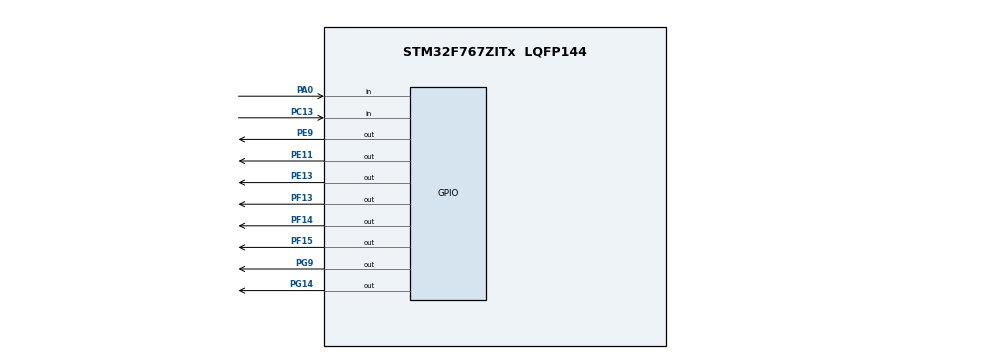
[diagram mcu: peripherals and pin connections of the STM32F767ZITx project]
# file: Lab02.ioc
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Mcu.Family=STM32F7
Mcu.Name=STM32F767ZITx
Mcu.Package=LQFP144
NVIC.PriorityGroup=NVIC_PRIORITYGROUP_4
PA0/WKUP.Signal=GPIO_Input
PC13.Signal=GPIO_Input
PE11.Signal=GPIO_Output
PE13.Signal=GPIO_Output
PE9.Signal=GPIO_Output
PF13.Signal=GPIO_Output
PF14.Signal=GPIO_Output
PF15.Signal=GPIO_Output
PG14.Signal=GPIO_Output
PG9.Signal=GPIO_Output
ProjectManager.HeapSize=0x200
ProjectManager.StackSize=0x400
ProjectManager.TargetToolchain=STM32CubeIDE
RCC.HSE_VALUE=25000000
RCC.HSI_VALUE=16000000
RCC.LSE_VALUE=32768
RCC.USBFreq_Value=96000000
RCC.VCOOutputFreq_Value=192000000
board=custom

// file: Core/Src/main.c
/* USER CODE BEGIN Header */
/**
  ******************************************************************************
  * @file           : main.c
  * @brief          : Main program body
  ******************************************************************************
  * @attention
  *
  * Copyright (c) 2023 STMicroelectronics.
  * All rights reserved.
  *
  * This software is licensed under terms that can be found in the LICENSE file
  * in the root directory of this software component.
  * If no LICENSE file comes with this software, it is provided AS-IS.
  *
  ******************************************************************************
  */
/* USER CODE END Header */
#include "main.h"

/* USER CODE BEGIN PD */
#define led7_type GPIOF
#define led7_pin GPIO_PIN_13

#define led6_type GPIOE
#define led6_pin GPIO_PIN_9

#define led5_type GPIOE
#define led5_pin GPIO_PIN_11

#define led4_type GPIOF
#define led4_pin GPIO_PIN_14

#define led3_type GPIOE
#define led3_pin GPIO_PIN_13

#define led2_type GPIOF
#define led2_pin GPIO_PIN_15

#define led1_type GPIOG
#define led1_pin GPIO_PIN_14

#define led0_type GPIOG
#define led0_pin GPIO_PIN_9
/* USER CODE END PD */

/* USER CODE BEGIN PV */
uint8_t state_count = 0;
uint8_t state[9][8] = {
		{0, 0, 0, 0, 0, 0, 0, 0},
		{0, 0, 0, 0, 0, 0, 0, 1},
		{0, 0, 0, 0, 0, 0, 1, 0},
		{0, 0, 0, 0, 0, 1, 0, 0},
		{0, 0, 0, 0, 1, 0, 0, 0},
		{0, 0, 0, 1, 0, 0, 0, 0},
		{0, 0, 1, 0, 0, 0, 0, 0},
		{0, 1, 0, 0, 0, 0, 0, 0},
		{1, 0, 0, 0, 0, 0, 0, 0}};
uint8_t sw[2] = {0, 0};
uint8_t loop = 8;
uint8_t start = 0;
uint8_t old_state = 0;
uint8_t finish = 0;
/* USER CODE END PV */

void SystemClock_Config(void);
static void MPU_Initialize(void);
static void MPU_Config(void);
static void MX_GPIO_Init(void);

int main(void)
{

  /* MCU Configuration--------------------------------------------------------*/

  /* Reset of all peripherals, Initializes the Flash interface and the Systick. */
  HAL_Init();

  /* MPU Configuration--------------------------------------------------------*/
  MPU_Config();

  /* Configure the system clock */
  SystemClock_Config();

  /* Initialize all configured peripherals */
  MX_GPIO_Init();

  /* Infinite loop */
  while (1)
  {

    /* USER CODE BEGIN 3 */

	HAL_GPIO_WritePin(led7_type, led7_pin, state[state_count][7]);
	HAL_GPIO_WritePin(led6_type, led6_pin, state[state_count][6]);
	HAL_GPIO_WritePin(led5_type, led5_pin, state[state_count][5]);
	HAL_GPIO_WritePin(led4_type, led4_pin, state[state_count][4]);
	HAL_GPIO_WritePin(led3_type, led3_pin, state[state_count][3]);
	HAL_GPIO_WritePin(led2_type, led2_pin, state[state_count][2]);
	HAL_GPIO_WritePin(led1_type, led1_pin, state[state_count][1]);
	HAL_GPIO_WritePin(led0_type, led0_pin, state[state_count][0]);

	if (HAL_GPIO_ReadPin(GPIOC, GPIO_PIN_13) == 1 && sw[0] == 0) {
		state_count++;
		sw[0] = 1;
	}
	if (HAL_GPIO_ReadPin(GPIOC, GPIO_PIN_13) == 0) sw[0] = 0;

	if(state_count == 9){
		state_count = 1;
	}

	if (HAL_GPIO_ReadPin(GPIOA, GPIO_PIN_0) == 0 && sw[1] == 0) {
		start = 1;
		old_state = state_count;
		sw[1] = 1;
	}
	if (HAL_GPIO_ReadPin(GPIOA, GPIO_PIN_0) == 1) sw[1] = 0;

	if (finish == 1) {
		HAL_Delay(500);
		state_count = old_state;
		finish = 0;
	}

	if (start == 1){
		loop--;
		if (state_count != 0) state_count--;
		else state_count = 8;
		if (state_count == 0) state_count = 8;
		if (loop == 0){
			loop = 8;
			start = 0;
			finish = 1;
		}
		HAL_Delay(500);
	}
  }
  /* USER CODE END 3 */
}

void SystemClock_Config(void)
{
  RCC_OscInitTypeDef RCC_OscInitStruct = {0};
  RCC_ClkInitTypeDef RCC_ClkInitStruct = {0};

  /** Configure the main internal regulator output voltage
  */
  __HAL_RCC_PWR_CLK_ENABLE();
  __HAL_PWR_VOLTAGESCALING_CONFIG(PWR_REGULATOR_VOLTAGE_SCALE3);

  /** Initializes the RCC Oscillators according to the specified parameters
  * in the RCC_OscInitTypeDef structure.
  */
  RCC_OscInitStruct.OscillatorType = RCC_OSCILLATORTYPE_HSI;
  RCC_OscInitStruct.HSIState = RCC_HSI_ON;
  RCC_OscInitStruct.HSICalibrationValue = RCC_HSICALIBRATION_DEFAULT;
  RCC_OscInitStruct.PLL.PLLState = RCC_PLL_NONE;
  if (HAL_RCC_OscConfig(&RCC_OscInitStruct) != HAL_OK)
  {
    Error_Handler();
  }

  /** Initializes the CPU, AHB and APB buses clocks
  */
  RCC_ClkInitStruct.ClockType = RCC_CLOCKTYPE_HCLK|RCC_CLOCKTYPE_SYSCLK
                              |RCC_CLOCKTYPE_PCLK1|RCC_CLOCKTYPE_PCLK2;
  RCC_ClkInitStruct.SYSCLKSource = RCC_SYSCLKSOURCE_HSI;
  RCC_ClkInitStruct.AHBCLKDivider = RCC_SYSCLK_DIV1;
  RCC_ClkInitStruct.APB1CLKDivider = RCC_HCLK_DIV1;
  RCC_ClkInitStruct.APB2CLKDivider = RCC_HCLK_DIV1;

  if (HAL_RCC_ClockConfig(&RCC_ClkInitStruct, FLASH_LATENCY_0) != HAL_OK)
  {
    Error_Handler();
  }
}

static void MX_GPIO_Init(void)
{
  GPIO_InitTypeDef GPIO_InitStruct = {0};

  /* GPIO Ports Clock Enable */
  __HAL_RCC_GPIOC_CLK_ENABLE();
  __HAL_RCC_GPIOA_CLK_ENABLE();
  __HAL_RCC_GPIOF_CLK_ENABLE();
  __HAL_RCC_GPIOE_CLK_ENABLE();
  __HAL_RCC_GPIOG_CLK_ENABLE();

  /*Configure GPIO pin Output Level */
  HAL_GPIO_WritePin(GPIOF, GPIO_PIN_13|GPIO_PIN_14|GPIO_PIN_15, GPIO_PIN_RESET);

  /*Configure GPIO pin Output Level */
  HAL_GPIO_WritePin(GPIOE, GPIO_PIN_9|GPIO_PIN_11|GPIO_PIN_13, GPIO_PIN_RESET);

  /*Configure GPIO pin Output Level */
  HAL_GPIO_WritePin(GPIOG, GPIO_PIN_9|GPIO_PIN_14, GPIO_PIN_RESET);

  /*Configure GPIO pin : PC13 */
  GPIO_InitStruct.Pin = GPIO_PIN_13;
  GPIO_InitStruct.Mode = GPIO_MODE_INPUT;
  GPIO_InitStruct.Pull = GPIO_NOPULL;
  HAL_GPIO_Init(GPIOC, &GPIO_InitStruct);

  /*Configure GPIO pin : PA0 */
  GPIO_InitStruct.Pin = GPIO_PIN_0;
  GPIO_InitStruct.Mode = GPIO_MODE_INPUT;
  GPIO_InitStruct.Pull = GPIO_NOPULL;
  HAL_GPIO_Init(GPIOA, &GPIO_InitStruct);

  /*Configure GPIO pins : PF13 PF14 PF15 */
  GPIO_InitStruct.Pin = GPIO_PIN_13|GPIO_PIN_14|GPIO_PIN_15;
  GPIO_InitStruct.Mode = GPIO_MODE_OUTPUT_PP;
  GPIO_InitStruct.Pull = GPIO_NOPULL;
  GPIO_InitStruct.Speed = GPIO_SPEED_FREQ_LOW;
  HAL_GPIO_Init(GPIOF, &GPIO_InitStruct);

  /*Configure GPIO pins : PE9 PE11 PE13 */
  GPIO_InitStruct.Pin = GPIO_PIN_9|GPIO_PIN_11|GPIO_PIN_13;
  GPIO_InitStruct.Mode = GPIO_MODE_OUTPUT_PP;
  GPIO_InitStruct.Pull = GPIO_NOPULL;
  GPIO_InitStruct.Speed = GPIO_SPEED_FREQ_LOW;
  HAL_GPIO_Init(GPIOE, &GPIO_InitStruct);

  /*Configure GPIO pins : PG9 PG14 */
  GPIO_InitStruct.Pin = GPIO_PIN_9|GPIO_PIN_14;
  GPIO_InitStruct.Mode = GPIO_MODE_OUTPUT_PP;
  GPIO_InitStruct.Pull = GPIO_NOPULL;
  GPIO_InitStruct.Speed = GPIO_SPEED_FREQ_LOW;
  HAL_GPIO_Init(GPIOG, &GPIO_InitStruct);

}

/* MPU Configuration */

void MPU_Config(void)
{
  MPU_Region_InitTypeDef MPU_InitStruct = {0};

  /* Disables the MPU */
  HAL_MPU_Disable();

  /** Initializes and configures the Region and the memory to be protected
  */
  MPU_InitStruct.Enable = MPU_REGION_ENABLE;
  MPU_InitStruct.Number = MPU_REGION_NUMBER0;
  MPU_InitStruct.BaseAddress = 0x0;
  MPU_InitStruct.Size = MPU_REGION_SIZE_4GB;
  MPU_InitStruct.SubRegionDisable = 0x87;
  MPU_InitStruct.TypeExtField = MPU_TEX_LEVEL0;
  MPU_InitStruct.AccessPermission = MPU_REGION_NO_ACCESS;
  MPU_InitStruct.DisableExec = MPU_INSTRUCTION_ACCESS_DISABLE;
  MPU_InitStruct.IsShareable = MPU_ACCESS_SHAREABLE;
  MPU_InitStruct.IsCacheable = MPU_ACCESS_NOT_CACHEABLE;
  MPU_InitStruct.IsBufferable = MPU_ACCESS_NOT_BUFFERABLE;

  HAL_MPU_ConfigRegion(&MPU_InitStruct);
  /* Enables the MPU */
  HAL_MPU_Enable(MPU_PRIVILEGED_DEFAULT);

}

void Error_Handler(void)
{
  __disable_irq();
  while (1)
  {
  }
}
